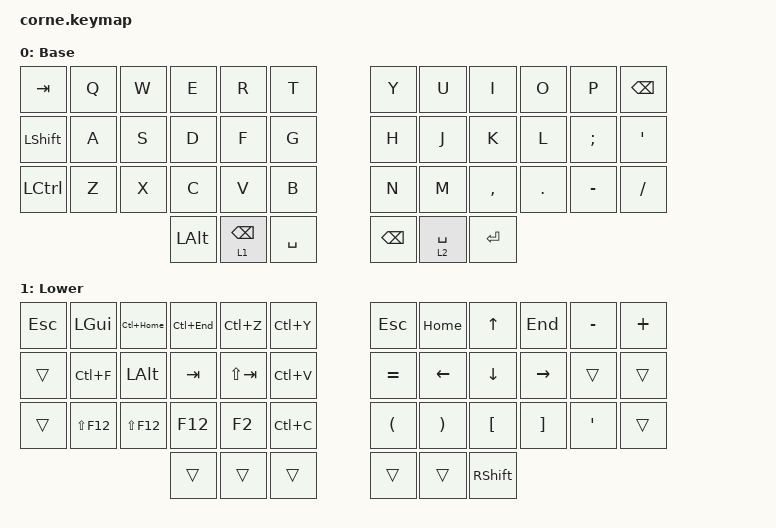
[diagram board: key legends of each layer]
/*
 * Copyright (c) 2020 The ZMK Contributors
 *
 * SPDX-License-Identifier: MIT
 */

#include <behaviors.dtsi>
#include <dt-bindings/zmk/bt.h>
#include <dt-bindings/zmk/keys.h>

/ {
    behaviors {
        gui: gui {
            compatible = "zmk,behavior-tap-dance";
            display-name = "GUI";
            #binding-cells = <0>;
            bindings = <&kp LEFT_GUI>, <&to 1>;
        };
    };

    keymap {
        compatible = "zmk,keymap";

        default_layer {
    display-name = "Base";
    bindings = <
        &kp TAB         &kp Q       &kp W           &kp E            &kp R             &kp T                           &kp Y          &kp U        &kp I          &kp O    &kp P                  &kp BACKSPACE
        &kp LSHIFT      &kp A       &kp S           &kp D            &kp F             &kp G                           &kp H          &kp J        &kp K          &kp L    &kp SEMI               &kp SQT
        &kp LCTRL       &kp Z       &kp X           &kp C            &kp V             &kp B                           &kp N          &kp M        &kp COMMA      &kp DOT  &kp MINUS              &kp SLASH
                                                    &kp LALT         &lt 1 BACKSPACE   &kp SPACE                       &kp BACKSPACE  &lt 2 SPACE  &kp RET
    >;
};

        lower_layer {
            display-name = "Lower";
            bindings = <
&kp ESC           &kp LGUI              &kp LC(HOME)            &kp LC(END)             &kp LC(Z)         &kp LC(Y)                &kp ESC         &kp HOME      &kp UP        &kp END        &kp MINUS      &kp PLUS
&trans            &kp LC(F)             &kp LALT                &kp TAB                 &kp LS(TAB)       &kp LC(V)                &kp EQUAL       &kp LEFT      &kp DOWN      &kp RIGHT      &trans         &trans
&trans            &kp LS(F12)           &kp LS(F12)             &kp F12                 &kp F2            &kp LC(C)                &kp LPAR        &kp RPAR      &kp LBKT      &kp RBKT       &kp APOS       &trans
                                                                &trans                  &trans            &trans                   &trans          &trans        &kp RSHIFT
            >;
        };

            display-name = "Raise";
            bindings = <
&bootloader    &kp EXCL    &kp AT          &kp HASH    &kp DLLR    &kp PRCNT                                 &kp CARET      &kp AMPS         &kp EQUAL         &kp ASTERISK  &kp RC(PG_UP)      &kp RC(PG_DN)
&trans         &trans      &trans          &trans      &trans      &trans                                    &kp LBKT       &kp RBKT         &kp LT            &kp GT        &kp RC(RS(TAB))    &kp RC(TAB)
&trans         &trans      &trans          &trans      &trans      &trans                                    &kp LPAR       &kp RPAR         &trans            &kp RBKT      &trans             &trans
                                           &trans      &trans      &kp SPACE                                 &trans         &trans           &kp RALT
            >;
        };

        layer_3 {
            display-name = "Nav";
            bindings = <
&trans      &trans      &trans      &trans      &trans      &trans                  &kp F5      &kp F12             &kp UP          &kp END               &kp RC(PG_UP)      &kp RC(PG_DN)          
&trans      &trans      &trans      &trans      &trans      &trans                  &kp F10     &kp LEFT            &kp DOWN        &kp RIGHT             &bt BT_NXT         &bt BT_SEL 0           
&trans      &trans      &trans      &trans      &trans      &trans                  &kp F11     &kp RC(LEFT)        &trans          &kp RC(RIGHT)         &bt BT_CLR         &trans         
                                    &trans      &trans      &trans                  &trans      &trans              &trans
            >;
        };

        layer_4 {
            bindings = <
&trans  &trans  &trans  &trans  &trans  &none     &trans  &trans  &trans  &trans  &trans  &trans
&trans  &trans  &trans  &trans  &trans  &trans    &trans  &trans  &trans  &trans  &trans  &trans
&trans  &trans  &trans  &trans  &trans  &trans    &trans  &trans  &trans  &trans  &trans  &trans
                        &trans  &trans  &trans    &trans  &trans  &trans
            >;
        };
    };
};
